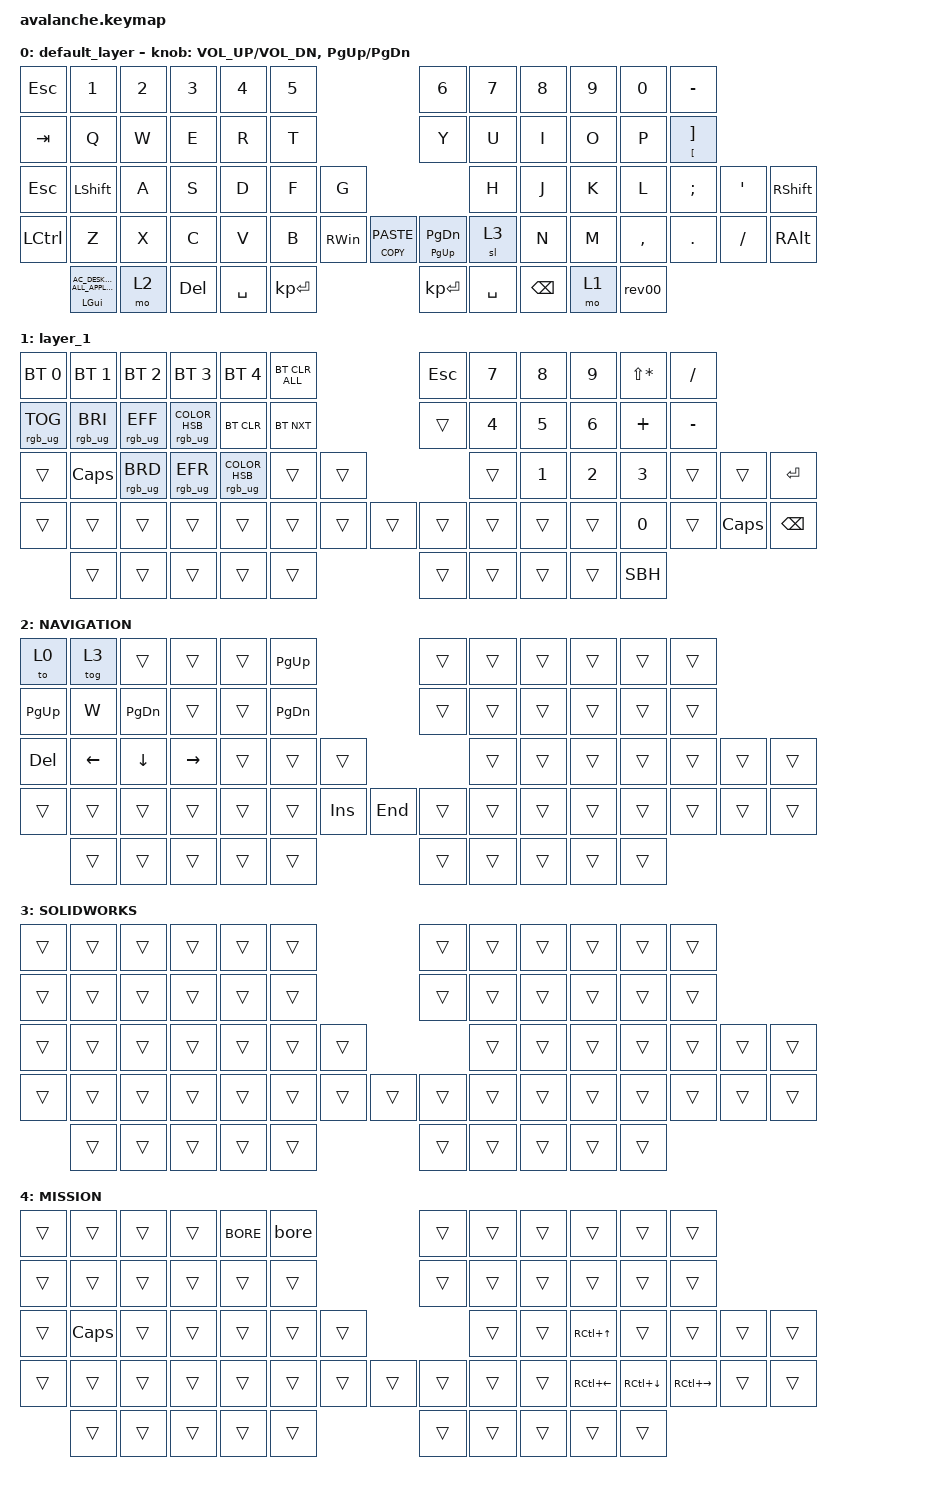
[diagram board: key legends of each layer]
#include <behaviors.dtsi>
#include <dt-bindings/zmk/bt.h>
#include <dt-bindings/zmk/keys.h>
#include <dt-bindings/zmk/rgb.h>

/ {
    behaviors {
        bhm: balanced_homerow_mods {
            compatible = "zmk,behavior-hold-tap";
            label = "HOMEROW_MODS";
            #binding-cells = <2>;
            tapping-term-ms = <200>;

            // <---[[moderate duration]]

            quick-tap-ms = <0>;
            flavor = "balanced";
            bindings = <&kp>, <&kp>;
        };

        hm: homerow_mods {
            compatible = "zmk,behavior-hold-tap";
            label = "HOMEROW_MODS";
            #binding-cells = <2>;
            tapping-term-ms = <250>;
            flavor = "tap-preferred";
            bindings = <&kp>, <&kp>;
        };
    };

    macros {
        bore: BORE {
            compatible = "zmk,behavior-macro";
            #binding-cells = <0>;
            bindings = <&none &kp LT &kp M &kp O &kp D &kp MINUS &kp D &kp I &kp A &kp M &kp GT &kp B &kp O &kp R &kp E>;
            label = "BORE";
        };

        BORE: new_macro {
            compatible = "zmk,behavior-macro";
            #binding-cells = <0>;
            bindings = <&none &kp LT &kp LS(M) &kp LS(O) &kp LS(D) &kp MINUS &kp LS(D) &kp LS(I) &kp LS(A) &kp LS(M) &kp GT &kp LS(B) &kp LS(O) &kp LS(R) &kp LS(E) &kp RET &kp RET>;
            label = "NEW_MACRO";
        };

        rev00: rev00 {
            compatible = "zmk,behavior-macro";
            #binding-cells = <0>;
            bindings = <&kp CLCK &kp LS(I) &kp LS(N) &kp LS(I) &kp LS(T) &kp LS(I) &kp LS(A) &kp LS(L) &kp SPACE &kp LS(R) &kp LS(E) &kp LS(L) &kp LS(E) &kp LS(A) &kp LS(S) &kp LS(E) &kp SPACE &kp LS(I) &kp LS(N) &kp SPACE &kp LS(A) &kp LS(C) &kp LS(C) &kp LS(O) &kp LS(R) &kp LS(D) &kp LS(A) &kp LS(N) &kp LS(C) &kp LS(E) &kp SPACE &kp LS(W) &kp LS(I) &kp LS(T) &kp LS(H) &kp SPACE &kp LS(N) &kp LS(E) &kp LS(W) &kp RET &kp LS(D) &kp LS(R) &kp LS(A) &kp LS(W) &kp LS(I) &kp LS(N) &kp LS(G) &kp SPACE &kp LS(S) &kp LS(T) &kp LS(A) &kp LS(N) &kp LS(D) &kp LS(A) &kp LS(R) &kp LS(D) &kp CAPS>;
            label = "REV00";
        };

        SBH: SBH {
            compatible = "zmk,behavior-macro";
            #binding-cells = <0>;
            bindings = <&kp S &kp B &kp H>;
            label = "SBH";
        };
    };

    keymap {
        compatible = "zmk,keymap";

        /*
        &trans  &trans  &trans  &trans  &trans  &trans                                   &trans  &trans  &trans  &trans  &trans  &trans 
// ------------------------------------------------------------------------------------------------------------------------------------------------------------------------------------
        &trans  &trans  &trans  &trans  &trans  &trans                                   &trans  &trans  &trans  &trans  &trans  &trans 
// ------------------------------------------------------------------------------------------------------------------------------------------------------------------------------------
&trans  &trans  &trans  &trans  &trans  &trans  &trans                                   &trans  &trans  &trans  &trans  &trans  &trans  &trans 
// ------------------------------------------------------------------------------------------------------------------------------------------------------------------------------------
        &trans  &trans  &trans  &trans  &trans  &trans  &trans  &trans    &trans &trans  &trans  &trans  &trans  &trans  &trans  &trans 
// ------------------------------------------------------------------------------------------------------------------------------------------------------------------------------------
                                &trans  &trans  &trans  &trans  &trans    &trans &trans  &trans  &trans  &trans
*/

        default_layer {
            bindings = <
&kp ESCAPE  &kp N1                                       &kp N2  &kp N3   &kp N4     &kp N5                                           &kp N6                 &kp N7     &kp N8         &kp N9  &kp N0     &kp MINUS
&kp TAB     &kp Q                                        &kp W   &kp E    &kp R      &kp T                                            &kp Y                  &kp U      &kp I          &kp O   &kp P      &hm LEFT_BRACKET RIGHT_BRACKET
&kp ESCAPE  &kp LEFT_SHIFT                               &kp A   &kp S    &kp D      &kp F         &kp G                                                     &kp H      &kp J          &kp K   &kp L      &kp SEMICOLON                   &kp SQT    &kp RIGHT_SHIFT
&kp LCTRL   &kp Z                                        &kp X   &kp C    &kp V      &kp B         &kp RIGHT_WIN  &hm K_COPY K_PASTE  &hm PAGE_UP PAGE_DOWN  &sl 3      &kp N          &kp M   &kp COMMA  &kp PERIOD                      &kp SLASH  &kp RIGHT_ALT
            &hm LGUI C_AC_DESKTOP_SHOW_ALL_APPLICATIONS  &mo 2   &kp DEL  &kp SPACE  &kp KP_ENTER                                     &kp KP_ENTER           &kp SPACE  &kp BACKSPACE  &mo 1   &rev00
            >;

            sensor-bindings = <&inc_dec_kp C_VOL_UP C_VOL_DN &inc_dec_kp PG_UP PG_DN>;
        };

        layer_1 {
            bindings = <
&bt BT_SEL 0     &bt BT_SEL 1     &bt BT_SEL 2     &bt BT_SEL 3                     &bt BT_SEL 4                    &bt BT_CLR_ALL                  &kp ESC  &kp N7  &kp N8  &kp N9  &kp LS(STAR)  &kp FSLH
&rgb_ug RGB_TOG  &rgb_ug RGB_BRI  &rgb_ug RGB_EFF  &rgb_ug RGB_COLOR_HSB(0,100,50)  &bt BT_CLR                      &bt BT_NXT                      &trans   &kp N4  &kp N5  &kp N6  &kp PLUS      &kp MINUS
&trans           &kp CAPS         &rgb_ug RGB_BRD  &rgb_ug RGB_EFR                  &rgb_ug RGB_COLOR_HSB(0,0,100)  &trans          &trans                   &trans  &kp N1  &kp N2  &kp N3        &trans     &trans        &kp RET
&trans           &trans           &trans           &trans                           &trans                          &trans          &trans  &trans  &trans   &trans  &trans  &trans  &kp N0        &trans     &kp CAPSLOCK  &kp BSPC
                 &trans           &trans           &trans                           &trans                          &trans                          &trans   &trans  &trans  &trans  &SBH
            >;
        };

        NAVIGATION {
            bindings = <
&to 0      &tog 3    &trans     &trans     &trans  &kp PG_UP                       &trans  &trans  &trans  &trans  &trans  &trans
&kp PG_UP  &kp W     &kp PG_DN  &trans     &trans  &kp PG_DN                       &trans  &trans  &trans  &trans  &trans  &trans
&kp DEL    &kp LEFT  &kp DOWN   &kp RIGHT  &trans  &trans     &trans                       &trans  &trans  &trans  &trans  &trans  &trans  &trans
&trans     &trans    &trans     &trans     &trans  &trans     &kp INSERT  &kp END  &trans  &trans  &trans  &trans  &trans  &trans  &trans  &trans
           &trans    &trans     &trans     &trans  &trans                          &trans  &trans  &trans  &trans  &trans
            >;
        };

        SOLIDWORKS {
            bindings = <
&trans  &trans  &trans  &trans  &trans  &trans                  &trans  &trans  &trans  &trans  &trans  &trans
&trans  &trans  &trans  &trans  &trans  &trans                  &trans  &trans  &trans  &trans  &trans  &trans
&trans  &trans  &trans  &trans  &trans  &trans  &trans                  &trans  &trans  &trans  &trans  &trans  &trans  &trans
&trans  &trans  &trans  &trans  &trans  &trans  &trans  &trans  &trans  &trans  &trans  &trans  &trans  &trans  &trans  &trans
        &trans  &trans  &trans  &trans  &trans                  &trans  &trans  &trans  &trans  &trans
            >;
        };

        MISSION {
            bindings = <
&trans  &trans    &trans  &trans  &BORE   &bore                   &trans  &trans  &trans  &trans        &trans        &trans
&trans  &trans    &trans  &trans  &trans  &trans                  &trans  &trans  &trans  &trans        &trans        &trans
&trans  &kp CAPS  &trans  &trans  &trans  &trans  &trans                  &trans  &trans  &kp RC(UP)    &trans        &trans         &trans  &trans
&trans  &trans    &trans  &trans  &trans  &trans  &trans  &trans  &trans  &trans  &trans  &kp RC(LEFT)  &kp RC(DOWN)  &kp RC(RIGHT)  &trans  &trans
        &trans    &trans  &trans  &trans  &trans                  &trans  &trans  &trans  &trans        &trans
            >;
        };
    };
};
